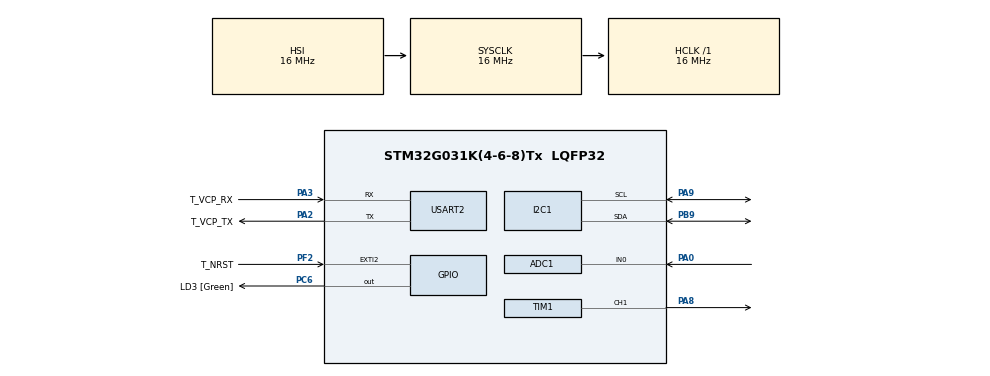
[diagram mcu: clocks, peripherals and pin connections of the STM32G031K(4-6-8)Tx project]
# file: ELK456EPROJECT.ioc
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ADC1.Channel-1\#ChannelRegularConversion=ADC_CHANNEL_0
ADC1.ContinuousConvMode=ENABLE
ADC1.NbrOfConversionFlag=1
ADC1.Rank-1\#ChannelRegularConversion=1
ADC1.SamplingTime-1\#ChannelRegularConversion=ADC_SAMPLINGTIME_COMMON_1
ADC1.SelectedChannel=ADC_CHANNEL_0
ADC1.master=1
Mcu.Family=STM32G0
Mcu.Name=STM32G031K(4-6-8)Tx
Mcu.Package=LQFP32
PA0.Mode=IN0
PA0.Signal=ADC1_IN0
PA13.GPIO_Label=T_JTMS
PA13.Mode=Serial_Wire
PA13.Signal=SYS_SWDIO
PA14-BOOT0.GPIO_Label=T_JTCK
PA14-BOOT0.Mode=Serial_Wire
PA14-BOOT0.Signal=SYS_SWCLK
PA2.GPIO_Label=T_VCP_TX
PA2.GPIO_PuPd=GPIO_PULLUP
PA2.Mode=Asynchronous
PA2.Signal=USART2_TX
PA3.GPIO_Label=T_VCP_RX
PA3.GPIO_PuPd=GPIO_PULLUP
PA3.Mode=Asynchronous
PA3.Signal=USART2_RX
PA8.Signal=S_TIM1_CH1
PA9.Mode=I2C
PA9.Signal=I2C1_SCL
PB9.Mode=I2C
PB9.Signal=I2C1_SDA
PC14-OSC32_IN\ (PC14).Mode=LSE-External-Oscillator
PC14-OSC32_IN\ (PC14).Signal=RCC_OSC32_IN
PC15-OSC32_OUT\ (PC15).Mode=LSE-External-Oscillator
PC15-OSC32_OUT\ (PC15).Signal=RCC_OSC32_OUT
PC6.GPIO_Label=LD3 [Green]
PC6.Signal=GPIO_Output
PF2\ -\ NRST.GPIO_Label=T_NRST
PF2\ -\ NRST.Signal=GPXTI2
ProjectManager.HeapSize=0x200
ProjectManager.StackSize=0x400
ProjectManager.TargetToolchain=STM32CubeIDE
RCC.AHBFreq_Value=16000000
RCC.CortexFreq_Value=16000000
RCC.EXTERNAL_CLOCK_VALUE=12288000
RCC.HCLKFreq_Value=16000000
RCC.HSE_VALUE=8000000
RCC.HSI_VALUE=16000000
RCC.SYSCLKFreq_VALUE=16000000
RCC.VCOOutputFreq_Value=128000000
SH.S_TIM1_CH1.0=TIM1_CH1,PWM Generation1 CH1
TIM1.Channel-PWM\ Generation1\ CH1=TIM_CHANNEL_1
TIM1.Period=99
TIM1.Prescaler=9
USART2.VirtualMode-Asynchronous=VM_ASYNC
USART2.WordLength=WORDLENGTH_7B
board=NUCLEO-G031K8

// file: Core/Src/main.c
/* USER CODE BEGIN Header */
/**
  ******************************************************************************
  * @file           : main.c
  * @brief          : Main program body
  ******************************************************************************
  * @attention
  *
  * Copyright (c) 2023 STMicroelectronics.
  * All rights reserved.
  *
  * This software is licensed under terms that can be found in the LICENSE file
  * in the root directory of this software component.
  * If no LICENSE file comes with this software, it is provided AS-IS.
  *
  ******************************************************************************
  */
/* USER CODE END Header */
#include "main.h"

/* USER CODE BEGIN Includes */
#include "liquidcrystal_i2c.h"
/* USER CODE END Includes */

ADC_HandleTypeDef hadc1;

I2C_HandleTypeDef hi2c1;

TIM_HandleTypeDef htim1;

UART_HandleTypeDef huart2;

/* USER CODE BEGIN PV */

uint8_t degreeSymbol[8] = {
		  0b01100,
		  0b10010,
		  0b10010,
		  0b01100,
		  0b00000,
		  0b00000,
		  0b00000,
		  0b00000
};

/* USER CODE END PV */

void SystemClock_Config(void);
static void MX_GPIO_Init(void);
static void MX_USART2_UART_Init(void);
static void MX_ADC1_Init(void);
static void MX_I2C1_Init(void);
static void MX_TIM1_Init(void);
/* USER CODE BEGIN PFP */
void setFanSpeed(uint8_t pwm_value);
/* USER CODE END PFP */

int main(void)
{

  /* MCU Configuration--------------------------------------------------------*/

  /* Reset of all peripherals, Initializes the Flash interface and the Systick. */
  HAL_Init();

  /* Configure the system clock */
  SystemClock_Config();

  /* Initialize all configured peripherals */
  MX_GPIO_Init();
  MX_USART2_UART_Init();
  MX_ADC1_Init();
  MX_I2C1_Init();
  MX_TIM1_Init();
  /* USER CODE BEGIN 2 */
  HAL_TIM_PWM_Start(&htim1, TIM_CHANNEL_1);
  setFanSpeed(99);
  uint16_t adc_value;
  float temperature;
  uint8_t pwm_value = 100;
  uint8_t prev_pwm_value = 100;
  HAL_ADC_Start(&hadc1);
  HD44780_Init(2);
  HD44780_CreateSpecialChar(0, degreeSymbol);
  HD44780_Clear();
  HD44780_SetCursor(0, 0);
  char temp_str[10];
  char pwm_str[10];
  /* USER CODE END 2 */

  /* Infinite loop */
  /* USER CODE BEGIN WHILE */
  while (1)
  {
	  HD44780_Clear();
	  HD44780_SetCursor(0, 0);
	  HD44780_PrintStr("Temp.:");
	  if (HAL_ADC_PollForConversion(&hadc1, 1000000) == HAL_OK) {
		  adc_value = HAL_ADC_GetValue(&hadc1);
		  temperature = 0.0805664 * adc_value;
	  }
	  sprintf(temp_str, "%.1f", temperature);
	  HD44780_SetCursor(6, 0);
	  HD44780_PrintStr(temp_str);
	  HD44780_SetCursor(10, 0);
	  HD44780_PrintSpecialChar(0);

	  if (temperature < 26.0) {
		  pwm_value = 100;
	  } else if (temperature >=26.0 && temperature < 28.0) {
		  pwm_value = 75;
	  } else if (temperature >= 28.0 && temperature < 30.0) {
		  pwm_value = 50;
	  } else if (temperature >= 30.0 && temperature < 32.0) {
		  pwm_value = 25;
	  } else if (temperature >= 32.0){
		  pwm_value = 0;
	  }
	  sprintf(pwm_str, "%d", 100-pwm_value);
	  HD44780_SetCursor(0, 1);
	  HD44780_PrintStr("Fan Mode:%");
	  HD44780_SetCursor(10, 1);
	  HD44780_PrintStr(pwm_str);
	  if(pwm_value != prev_pwm_value){
		  setFanSpeed(0);
		  HAL_Delay(100);
		  prev_pwm_value = pwm_value;
	  }
	  setFanSpeed(pwm_value);
	  HAL_Delay(1000);
    /* USER CODE END WHILE */

  }
}

void SystemClock_Config(void)
{
  RCC_OscInitTypeDef RCC_OscInitStruct = {0};
  RCC_ClkInitTypeDef RCC_ClkInitStruct = {0};

  /** Configure the main internal regulator output voltage
  */
  HAL_PWREx_ControlVoltageScaling(PWR_REGULATOR_VOLTAGE_SCALE1);

  /** Initializes the RCC Oscillators according to the specified parameters
  * in the RCC_OscInitTypeDef structure.
  */
  RCC_OscInitStruct.OscillatorType = RCC_OSCILLATORTYPE_HSI;
  RCC_OscInitStruct.HSIState = RCC_HSI_ON;
  RCC_OscInitStruct.HSIDiv = RCC_HSI_DIV1;
  RCC_OscInitStruct.HSICalibrationValue = RCC_HSICALIBRATION_DEFAULT;
  RCC_OscInitStruct.PLL.PLLState = RCC_PLL_NONE;
  if (HAL_RCC_OscConfig(&RCC_OscInitStruct) != HAL_OK)
  {
    Error_Handler();
  }

  /** Initializes the CPU, AHB and APB buses clocks
  */
  RCC_ClkInitStruct.ClockType = RCC_CLOCKTYPE_HCLK|RCC_CLOCKTYPE_SYSCLK
                              |RCC_CLOCKTYPE_PCLK1;
  RCC_ClkInitStruct.SYSCLKSource = RCC_SYSCLKSOURCE_HSI;
  RCC_ClkInitStruct.AHBCLKDivider = RCC_SYSCLK_DIV1;
  RCC_ClkInitStruct.APB1CLKDivider = RCC_HCLK_DIV1;

  if (HAL_RCC_ClockConfig(&RCC_ClkInitStruct, FLASH_LATENCY_0) != HAL_OK)
  {
    Error_Handler();
  }
}

static void MX_ADC1_Init(void)
{

  ADC_ChannelConfTypeDef sConfig = {0};

  /** Configure the global features of the ADC (Clock, Resolution, Data Alignment and number of conversion)
  */
  hadc1.Instance = ADC1;
  hadc1.Init.ClockPrescaler = ADC_CLOCK_SYNC_PCLK_DIV2;
  hadc1.Init.Resolution = ADC_RESOLUTION_12B;
  hadc1.Init.DataAlign = ADC_DATAALIGN_RIGHT;
  hadc1.Init.ScanConvMode = ADC_SCAN_DISABLE;
  hadc1.Init.EOCSelection = ADC_EOC_SINGLE_CONV;
  hadc1.Init.LowPowerAutoWait = DISABLE;
  hadc1.Init.LowPowerAutoPowerOff = DISABLE;
  hadc1.Init.ContinuousConvMode = ENABLE;
  hadc1.Init.NbrOfConversion = 1;
  hadc1.Init.ExternalTrigConv = ADC_SOFTWARE_START;
  hadc1.Init.ExternalTrigConvEdge = ADC_EXTERNALTRIGCONVEDGE_NONE;
  hadc1.Init.DMAContinuousRequests = DISABLE;
  hadc1.Init.Overrun = ADC_OVR_DATA_PRESERVED;
  hadc1.Init.SamplingTimeCommon1 = ADC_SAMPLETIME_1CYCLE_5;
  hadc1.Init.SamplingTimeCommon2 = ADC_SAMPLETIME_1CYCLE_5;
  hadc1.Init.OversamplingMode = DISABLE;
  hadc1.Init.TriggerFrequencyMode = ADC_TRIGGER_FREQ_HIGH;
  if (HAL_ADC_Init(&hadc1) != HAL_OK)
  {
    Error_Handler();
  }

  /** Configure Regular Channel
  */
  sConfig.Channel = ADC_CHANNEL_0;
  sConfig.Rank = ADC_REGULAR_RANK_1;
  sConfig.SamplingTime = ADC_SAMPLINGTIME_COMMON_1;
  if (HAL_ADC_ConfigChannel(&hadc1, &sConfig) != HAL_OK)
  {
    Error_Handler();
  }

}

static void MX_I2C1_Init(void)
{

  hi2c1.Instance = I2C1;
  hi2c1.Init.Timing = 0x00303D5B;
  hi2c1.Init.OwnAddress1 = 0;
  hi2c1.Init.AddressingMode = I2C_ADDRESSINGMODE_7BIT;
  hi2c1.Init.DualAddressMode = I2C_DUALADDRESS_DISABLE;
  hi2c1.Init.OwnAddress2 = 0;
  hi2c1.Init.OwnAddress2Masks = I2C_OA2_NOMASK;
  hi2c1.Init.GeneralCallMode = I2C_GENERALCALL_DISABLE;
  hi2c1.Init.NoStretchMode = I2C_NOSTRETCH_DISABLE;
  if (HAL_I2C_Init(&hi2c1) != HAL_OK)
  {
    Error_Handler();
  }

  /** Configure Analogue filter
  */
  if (HAL_I2CEx_ConfigAnalogFilter(&hi2c1, I2C_ANALOGFILTER_ENABLE) != HAL_OK)
  {
    Error_Handler();
  }

  /** Configure Digital filter
  */
  if (HAL_I2CEx_ConfigDigitalFilter(&hi2c1, 0) != HAL_OK)
  {
    Error_Handler();
  }

}

static void MX_TIM1_Init(void)
{

  TIM_MasterConfigTypeDef sMasterConfig = {0};
  TIM_OC_InitTypeDef sConfigOC = {0};
  TIM_BreakDeadTimeConfigTypeDef sBreakDeadTimeConfig = {0};

  htim1.Instance = TIM1;
  htim1.Init.Prescaler = 9;
  htim1.Init.CounterMode = TIM_COUNTERMODE_UP;
  htim1.Init.Period = 99;
  htim1.Init.ClockDivision = TIM_CLOCKDIVISION_DIV1;
  htim1.Init.RepetitionCounter = 0;
  htim1.Init.AutoReloadPreload = TIM_AUTORELOAD_PRELOAD_DISABLE;
  if (HAL_TIM_PWM_Init(&htim1) != HAL_OK)
  {
    Error_Handler();
  }
  sMasterConfig.MasterOutputTrigger = TIM_TRGO_RESET;
  sMasterConfig.MasterOutputTrigger2 = TIM_TRGO2_RESET;
  sMasterConfig.MasterSlaveMode = TIM_MASTERSLAVEMODE_DISABLE;
  if (HAL_TIMEx_MasterConfigSynchronization(&htim1, &sMasterConfig) != HAL_OK)
  {
    Error_Handler();
  }
  sConfigOC.OCMode = TIM_OCMODE_PWM1;
  sConfigOC.Pulse = 0;
  sConfigOC.OCPolarity = TIM_OCPOLARITY_HIGH;
  sConfigOC.OCNPolarity = TIM_OCNPOLARITY_HIGH;
  sConfigOC.OCFastMode = TIM_OCFAST_DISABLE;
  sConfigOC.OCIdleState = TIM_OCIDLESTATE_RESET;
  sConfigOC.OCNIdleState = TIM_OCNIDLESTATE_RESET;
  if (HAL_TIM_PWM_ConfigChannel(&htim1, &sConfigOC, TIM_CHANNEL_1) != HAL_OK)
  {
    Error_Handler();
  }
  sBreakDeadTimeConfig.OffStateRunMode = TIM_OSSR_DISABLE;
  sBreakDeadTimeConfig.OffStateIDLEMode = TIM_OSSI_DISABLE;
  sBreakDeadTimeConfig.LockLevel = TIM_LOCKLEVEL_OFF;
  sBreakDeadTimeConfig.DeadTime = 0;
  sBreakDeadTimeConfig.BreakState = TIM_BREAK_DISABLE;
  sBreakDeadTimeConfig.BreakPolarity = TIM_BREAKPOLARITY_HIGH;
  sBreakDeadTimeConfig.BreakFilter = 0;
  sBreakDeadTimeConfig.BreakAFMode = TIM_BREAK_AFMODE_INPUT;
  sBreakDeadTimeConfig.Break2State = TIM_BREAK2_DISABLE;
  sBreakDeadTimeConfig.Break2Polarity = TIM_BREAK2POLARITY_HIGH;
  sBreakDeadTimeConfig.Break2Filter = 0;
  sBreakDeadTimeConfig.Break2AFMode = TIM_BREAK_AFMODE_INPUT;
  sBreakDeadTimeConfig.AutomaticOutput = TIM_AUTOMATICOUTPUT_DISABLE;
  if (HAL_TIMEx_ConfigBreakDeadTime(&htim1, &sBreakDeadTimeConfig) != HAL_OK)
  {
    Error_Handler();
  }
  HAL_TIM_MspPostInit(&htim1);

}

static void MX_USART2_UART_Init(void)
{

  huart2.Instance = USART2;
  huart2.Init.BaudRate = 115200;
  huart2.Init.WordLength = UART_WORDLENGTH_7B;
  huart2.Init.StopBits = UART_STOPBITS_1;
  huart2.Init.Parity = UART_PARITY_NONE;
  huart2.Init.Mode = UART_MODE_TX_RX;
  huart2.Init.HwFlowCtl = UART_HWCONTROL_NONE;
  huart2.Init.OverSampling = UART_OVERSAMPLING_16;
  huart2.Init.OneBitSampling = UART_ONE_BIT_SAMPLE_DISABLE;
  huart2.Init.ClockPrescaler = UART_PRESCALER_DIV1;
  huart2.AdvancedInit.AdvFeatureInit = UART_ADVFEATURE_NO_INIT;
  if (HAL_UART_Init(&huart2) != HAL_OK)
  {
    Error_Handler();
  }

}

static void MX_GPIO_Init(void)
{
  GPIO_InitTypeDef GPIO_InitStruct = {0};

  /* GPIO Ports Clock Enable */
  __HAL_RCC_GPIOB_CLK_ENABLE();
  __HAL_RCC_GPIOC_CLK_ENABLE();
  __HAL_RCC_GPIOF_CLK_ENABLE();
  __HAL_RCC_GPIOA_CLK_ENABLE();

  /*Configure GPIO pin Output Level */
  HAL_GPIO_WritePin(LD3_GPIO_Port, LD3_Pin, GPIO_PIN_RESET);

  /*Configure GPIO pin : T_NRST_Pin */
  GPIO_InitStruct.Pin = T_NRST_Pin;
  GPIO_InitStruct.Mode = GPIO_MODE_IT_RISING;
  GPIO_InitStruct.Pull = GPIO_NOPULL;
  HAL_GPIO_Init(T_NRST_GPIO_Port, &GPIO_InitStruct);

  /*Configure GPIO pin : LD3_Pin */
  GPIO_InitStruct.Pin = LD3_Pin;
  GPIO_InitStruct.Mode = GPIO_MODE_OUTPUT_PP;
  GPIO_InitStruct.Pull = GPIO_NOPULL;
  GPIO_InitStruct.Speed = GPIO_SPEED_FREQ_LOW;
  HAL_GPIO_Init(LD3_GPIO_Port, &GPIO_InitStruct);

}

/* USER CODE BEGIN 4 */
void setFanSpeed(uint8_t pwm_value) {
  if (pwm_value > 99) {
    pwm_value = 99;
  }
  __HAL_TIM_SET_COMPARE(&htim1, TIM_CHANNEL_1, pwm_value);
}
/* USER CODE END 4 */

void Error_Handler(void)
{
  __disable_irq();
  while (1)
  {
  }
}
